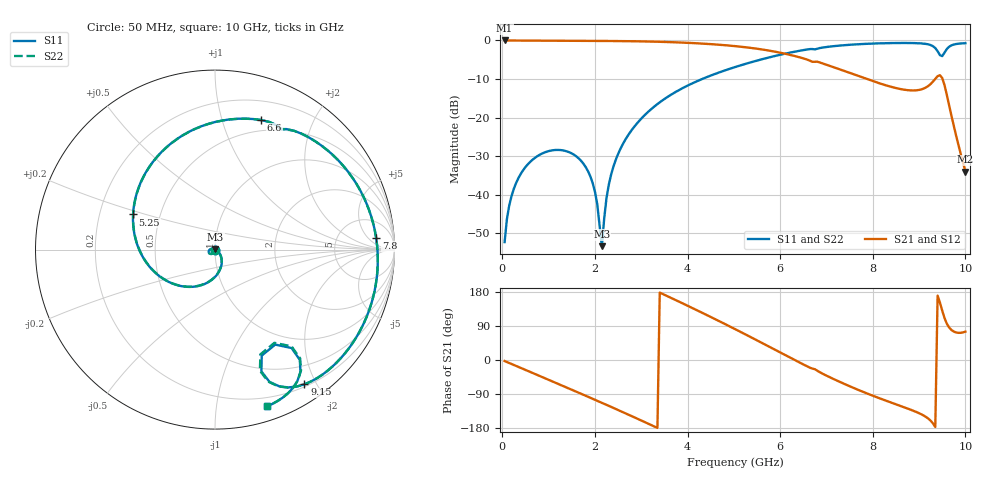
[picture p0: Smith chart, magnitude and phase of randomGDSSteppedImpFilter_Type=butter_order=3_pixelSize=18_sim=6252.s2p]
! freq	dB(S11)	phase(S11)	dB(S12)	phase(S12)
!  dB(S21)	phase(S21)	dB(S22)	phase(S22)
!S-par simulation data
#  GHz  S  DB  R 50
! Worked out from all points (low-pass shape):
!   200 points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, 50 MHz to 10 GHz, reference 50 ohm
!   highest |S21| = -0.01 dB at 50 MHz (marker M1); lowest = -34.0 dB at 10 GHz (marker M2)
!   |S21| within 3 dB of the highest: start of sweep to 5.93 GHz
!   lowest |S11| = -53.3 dB at 2.15 GHz (marker M3), VSWR 1.00, Z = 50.1 + j0.184 ohm
!   |S11| at or under -10 dB: start of sweep to 4.314 GHz
!   |S22| runs from -56.0 to -0.7 dB; largest |S21 - S12| = 0
!   S11 on the Smith chart (normalised r, x): 50 MHz: 1.00, -0.00; 5.25 GHz: 0.35, +0.18; 6.6 GHz: 0.38, +1.35; 7.8 GHz: 13, +9; 9.15 GHz: 0.23, -1.84; 10 GHz: 0.12, -1.38
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0.05  -52.24 -90.8  -0.01 -2.7  -0.01 -2.7  -52.24 -90.8
0.25  -38.40 -102.8  -0.03 -13.1  -0.03 -13.1  -38.40 -102.8
0.6  -31.48 -121.6  -0.04 -31.3  -0.04 -31.3  -31.48 -121.4
1.2  -28.36 -154.0  -0.08 -62.7  -0.08 -62.7  -28.36 -153.6
1.75  -31.90 174.3  -0.11 -91.6  -0.11 -91.6  -31.90 175.4
2  -39.14 155.1  -0.12 -104.9  -0.12 -104.9  -39.17 158.4
2.15  -53.30 58.1  -0.13 -113.0  -0.13 -113.0  -56.01 57.0
2.25  -40.85 -16.7  -0.14 -118.4  -0.14 -118.4  -41.03 -21.5
2.45  -30.93 -35.8  -0.16 -129.2  -0.16 -129.2  -30.97 -37.6
3.4  -16.03 -92.0  -0.35 177.9  -0.35 177.9  -16.04 -92.5
4.3  -10.07 -144.8  -0.81 125.6  -0.81 125.6  -10.07 -145.2
5.05  -6.81 169.3  -1.50 80.1  -1.50 80.1  -6.81 169.1
5.25  -6.08 156.8  -1.76 67.6  -1.76 67.6  -6.08 156.5
5.9  -3.99 115.2  -2.94 26.4  -2.94 26.4  -3.99 115.0
6.6  -2.31 70.3  -5.04 -17.8  -5.04 -17.8  -2.31 70.2
6.7  -2.24 63.5  -5.54 -22.8  -5.54 -22.8  -2.23 63.4
7.8  -0.91 4.2  -9.69 -84.6  -9.69 -84.6  -0.91 4.1
8.35  -0.70 -21.3  -11.86 -110.3  -11.86 -110.3  -0.70 -21.4
9.15  -0.91 -56.4  -12.17 -150.4  -12.17 -150.4  -0.92 -56.7
9.5  -4.06 -57.6  -9.74 130.1  -9.74 130.1  -4.21 -57.5
9.65  -1.62 -55.0  -16.90 85.7  -16.90 85.7  -1.65 -54.6
10  -0.72 -71.7  -33.98 74.8  -33.98 74.8  -0.72 -71.5
